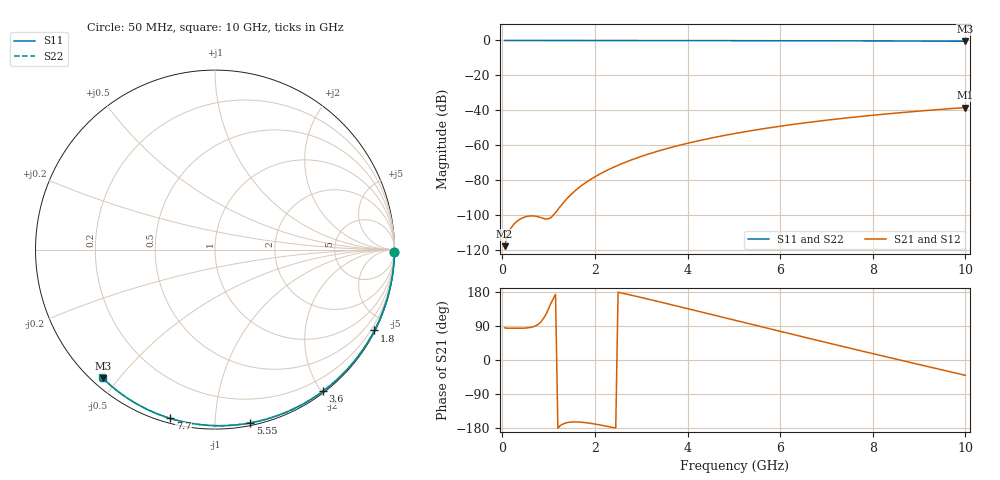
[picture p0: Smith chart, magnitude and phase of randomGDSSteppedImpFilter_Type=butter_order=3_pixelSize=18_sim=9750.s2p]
! freq	dB(S11)	phase(S11)	dB(S12)	phase(S12)
!  dB(S21)	phase(S21)	dB(S22)	phase(S22)
!S-par simulation data
#  GHz  S  DB  R 50
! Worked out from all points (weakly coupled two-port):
!   200 points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, 50 MHz to 10 GHz, reference 50 ohm
!   highest |S21| = -38.42 dB at 10 GHz (marker M1); lowest = -117.8 dB at 50 MHz (marker M2)
!   lowest |S11| = -0.4 dB at 10 GHz (marker M3), VSWR 39.19, Z = 1.54 - j22.7 ohm
!   |S11| at or under -10 dB: nowhere
!   |S22| runs from -0.4 to 0.0 dB; largest |S21 - S12| = 0
!   S11 on the Smith chart (normalised r, x): 50 MHz: open; 1.8 GHz: 0.04, -4.18; 3.6 GHz: 0.02, -2.02; 5.55 GHz: 0.02, -1.22; 7.7 GHz: 0.02, -0.77; 10 GHz: 0.03, -0.45
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0.05  -0.00 -0.8  -117.76 85.1  -117.76 85.1  -0.00 -0.8
0.9  -0.02 -13.6  -102.00 111.8  -102.00 111.8  -0.02 -13.6
1.75  -0.03 -26.2  -82.33 -164.7  -82.33 -164.7  -0.03 -26.2
1.8  -0.03 -26.9  -81.40 -165.4  -81.40 -165.4  -0.03 -27.0
1.85  -0.04 -27.6  -80.51 -166.1  -80.51 -166.1  -0.04 -27.7
1.9  -0.04 -28.4  -79.65 -167.0  -79.65 -167.0  -0.04 -28.4
2.05  -0.04 -30.5  -77.28 -170.0  -77.28 -170.0  -0.04 -30.6
2.25  -0.04 -33.4  -74.48 -174.7  -74.48 -174.7  -0.04 -33.5
2.45  -0.05 -36.3  -72.01 -179.8  -72.01 -179.8  -0.05 -36.4
2.65  -0.05 -39.2  -69.79 174.8  -69.79 174.8  -0.05 -39.3
3  -0.06 -44.2  -66.38 165.0  -66.38 165.0  -0.06 -44.3
3.4  -0.07 -49.8  -63.05 153.4  -63.05 153.4  -0.07 -49.9
3.6  -0.07 -52.6  -61.56 147.5  -61.56 147.5  -0.07 -52.7
4.3  -0.09 -62.1  -57.05 126.6  -57.05 126.6  -0.09 -62.3
5.05  -0.11 -72.1  -53.12 104.1  -53.12 104.1  -0.11 -72.3
5.55  -0.13 -78.5  -50.89 89.1  -50.89 89.1  -0.13 -78.7
6.1  -0.15 -85.5  -48.71 72.7  -48.71 72.7  -0.15 -85.7
6.7  -0.18 -92.9  -46.61 54.9  -46.61 54.9  -0.18 -93.1
7.7  -0.24 -104.9  -43.61 25.5  -43.61 25.5  -0.24 -105.2
8.35  -0.29 -112.4  -41.94 6.7  -41.94 6.7  -0.29 -112.8
9.15  -0.36 -121.6  -40.11 -16.2  -40.11 -16.2  -0.36 -121.9
10  -0.44 -131.2  -38.42 -40.4  -38.42 -40.4  -0.44 -131.6
